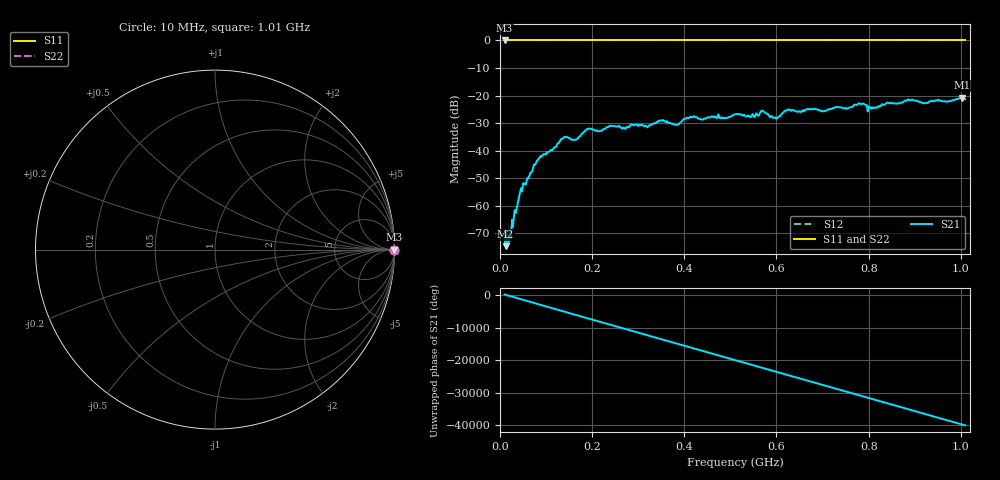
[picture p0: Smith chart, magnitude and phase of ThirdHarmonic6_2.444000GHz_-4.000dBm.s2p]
! 8/17/2025 4:19:08 AM
! C:\ANRITSUVNA\TEMP\TEMP.S2P
! CHANNEL.1
! TR.MEASUREMENT
! RAW.DATA
! RF.CORRECTION.OFF
! AVERAGING.OFF
! IF.BANDWIDTH: 5KHZ
! SWEEPTYPE:  FREQ.SWEEP(Linear)
! Reference Plane Port Info
! PORT:  PORT1  PORT2
! DISTANCE:  0  m  0  m
! TIME:  0  s  0  s
! PHASE.OFFSET:  0  deg.  0  deg.
! LOSS:  0  dB  0  dB
! REF.LOSS:  0  dB  0  dB
! REF.FREQ:  0  Hz  0  Hz
! Power Info
! POWER:  -20  dBm  -20  dBm
! EFF.POWER:  -20  dBm  -20  dBm
! SOURCE.ATTEN:  0  dB  0  dB
! TEST.ATTEN:  0  dB  0  dB
# GHZ S RI R 50.0
! FREQ.GHZ  S11RE  S11IM  S21RE  S21IM  S12RE  S12IM  S22RE  S22IM
!; PortSelection: Port_12
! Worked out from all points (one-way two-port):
!   501 points, 10 MHz to 1.01 GHz, reference 50 ohm
!   highest |S21| = -20.71 dB at 1.002 GHz (marker M1); lowest = -74.7 dB at 12 MHz (marker M2)
!   lowest |S11| = 0.0 dB at 10 MHz (marker M3)
!   |S11| at or under -10 dB: nowhere
!   |S22| runs from 0.0 to 0.0 dB; largest |S21 - S12| = 1.1
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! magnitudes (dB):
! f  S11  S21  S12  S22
! 10 MHz  0.0  -70.7  0.0  0.0
! 12 MHz  0.0  -74.7  0.0  0.0
! 20 MHz  0.0  -72.9  0.0  0.0
! 48 MHz  0.0  -54.8  0.0  0.0
! 84 MHz  0.0  -43.0  0.0  0.0
! 136 MHz  0.0  -35.6  0.0  0.0
! 164 MHz  0.0  -36.1  0.0  0.0
! 178 MHz  0.0  -33.9  0.0  0.0
! 192 MHz  0.0  -32.2  0.0  0.0
! 318 MHz  0.0  -31.1  0.0  0.0
! 344 MHz  0.0  -29.5  0.0  0.0
! 384 MHz  0.0  -30.6  0.0  0.0
! 418 MHz  0.0  -27.9  0.0  0.0
! 510 MHz  0.0  -26.8  0.0  0.0
! 570 MHz  0.0  -25.6  0.0  0.0
! 598 MHz  0.0  -28.0  0.0  0.0
! 622 MHz  0.0  -25.4  0.0  0.0
! 678 MHz  0.0  -24.9  0.0  0.0
! 802 MHz  0.0  -24.2  0.0  0.0
! 844 MHz  0.0  -22.8  0.0  0.0
! 1.002 GHz  0.0  -20.7  0.0  0.0
! 1.01 GHz  0.0  -21.4  0.0  0.0
